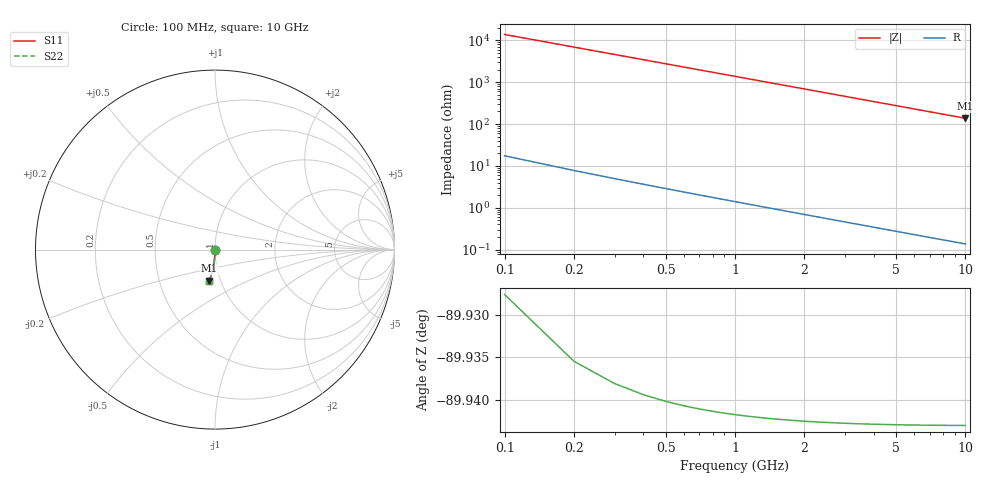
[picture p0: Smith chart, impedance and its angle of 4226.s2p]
# Hz S RI R 50.00
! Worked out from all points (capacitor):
!   100 points, 100 MHz to 10 GHz, reference 50 ohm
!   read as one part in shunt: C = 115 fF near 100 MHz
!   lowest |Z| = 138 ohm at 10 GHz (marker M1)
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1e8  2.82e-07 -0.00179  1 -0.00184  1 -0.00184  2.82e-07 -0.00179
2e8  -1.13e-05 -0.00357  1 -0.00368  1 -0.00368  -1.13e-05 -0.00357
3e8  -2.95e-05 -0.00536  1 -0.00551  1 -0.00551  -2.95e-05 -0.00536
4e8  -5.42e-05 -0.00714  0.9999 -0.00735  0.9999 -0.00735  -5.42e-05 -0.00714
5e8  -8.55e-05 -0.00892  0.9999 -0.00919  0.9999 -0.00919  -8.55e-05 -0.00892
6e8  -0.000123 -0.0107  0.9999 -0.011  0.9999 -0.011  -0.000123 -0.0107
7e8  -0.000168 -0.0125  0.9998 -0.0129  0.9998 -0.0129  -0.000168 -0.0125
8e8  -0.000219 -0.0143  0.9998 -0.0147  0.9998 -0.0147  -0.000219 -0.0143
9e8  -0.000276 -0.0161  0.9997 -0.0165  0.9997 -0.0165  -0.000276 -0.0161
1.1e9  -0.000411 -0.0196  0.9996 -0.0202  0.9996 -0.0202  -0.000411 -0.0196
1.4e9  -0.000663 -0.025  0.9993 -0.0257  0.9993 -0.0257  -0.000663 -0.025
1.8e9  -0.00109 -0.0321  0.9989 -0.0331  0.9989 -0.0331  -0.00109 -0.0321
2.1e9  -0.00148 -0.0374  0.9985 -0.0386  0.9985 -0.0386  -0.00148 -0.0374
2.5e9  -0.00209 -0.0446  0.9979 -0.0459  0.9979 -0.0459  -0.00209 -0.0446
2.9e9  -0.0028 -0.0517  0.9972 -0.0532  0.9972 -0.0532  -0.0028 -0.0517
3.4e9  -0.00384 -0.0605  0.9961 -0.0623  0.9961 -0.0623  -0.00384 -0.0605
4.2e9  -0.00584 -0.0746  0.9941 -0.0769  0.9941 -0.0769  -0.00584 -0.0746
5.1e9  -0.00857 -0.0904  0.9914 -0.0931  0.9914 -0.0931  -0.00857 -0.0904
5.9e9  -0.0114 -0.1043  0.9886 -0.1074  0.9886 -0.1074  -0.0114 -0.1043
6.7e9  -0.0147 -0.118  0.9853 -0.1216  0.9853 -0.1216  -0.0147 -0.118
8.4e9  -0.0229 -0.1467  0.9771 -0.1513  0.9771 -0.1513  -0.0229 -0.1467
1e10  -0.0321 -0.173  0.9679 -0.1785  0.9679 -0.1785  -0.0321 -0.173
